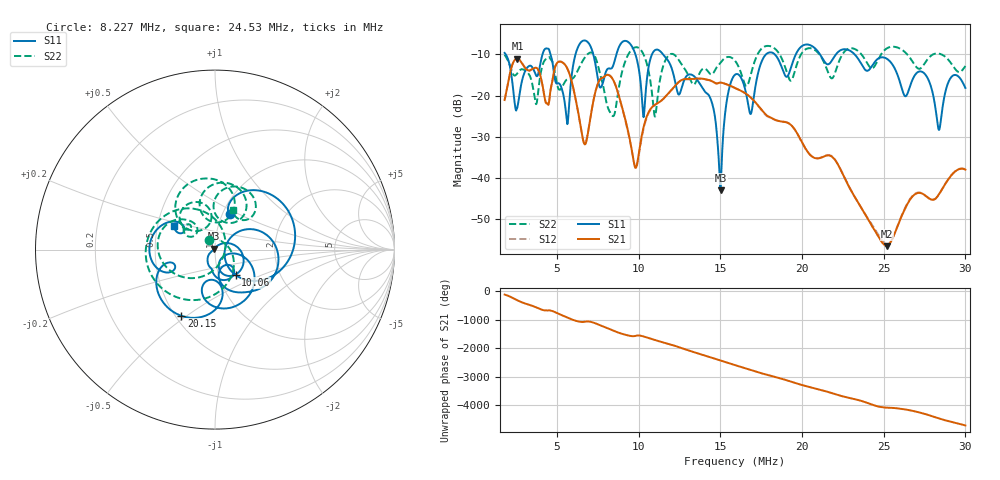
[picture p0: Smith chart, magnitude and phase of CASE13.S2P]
!Agilent Technologies,E5061B,MY49101568,A.02.00
!Date: Wed Mar 01 15:04:01 2023
!Data & Calibration Information:
!Freq	S11:SOLT2(OFF)	S21:SOLT2(OFF)	S12:SOLT2(OFF)	S22:SOLT2(OFF)
# Hz S dB R 50
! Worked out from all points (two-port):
!   1155 points, 1.8 MHz to 30 MHz, reference 50 ohm
!   highest |S21| = -11.01 dB at 2.582 MHz (marker M1); lowest = -56.6 dB at 25.19 MHz (marker M2)
!   |S21| within 3 dB of the highest: 2.162 MHz to 3.891 MHz (1.729 MHz wide, 57.1 % of centre); 4.827 MHz to 5.702 MHz (875.3 kHz wide, 16.6 % of centre)
!   lowest |S11| = -43.0 dB at 15.02 MHz (marker M3), VSWR 1.01, Z = 49.6 + j0.575 ohm
!   |S11| at or under -10 dB: 1.867 MHz to 4.118 MHz (2.251 MHz wide, 75.2 % of centre); 11.5 MHz to 17.79 MHz (6.29 MHz wide, 42.9 % of centre); 23.23 MHz to end of sweep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
!   |S22| runs from -25.1 to -7.9 dB; largest |S21 - S12| = 0.0083
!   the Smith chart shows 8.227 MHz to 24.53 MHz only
!   S11 on the Smith chart (normalised r, x): 8.227 MHz: 1.09, +0.45; 10.06 MHz: 1.20, -0.35; 20.15 MHz: 0.54, -0.48; 24.53 MHz: 0.61, +0.18
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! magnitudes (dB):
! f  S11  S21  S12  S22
! 1.8 MHz  -9.6  -21.1  -21.1  -10.1
! 2.582 MHz  -22.8  -11.0  -11.0  -14.6
! 3.731 MHz  -15.1  -13.2  -13.3  -22.1
! 4.39 MHz  -8.5  -21.9  -21.9  -11.0
! 5.637 MHz  -26.9  -13.4  -13.4  -16.1
! 6.516 MHz  -6.9  -28.9  -29.1  -12.0
! 8.227 MHz  -13.4  -15.1  -15.1  -23.9
! 10.06 MHz  -14.8  -32.8  -33.3  -8.6
! 10.33 MHz  -24.9  -27.3  -27.7  -10.2
! 11.21 MHz  -8.9  -21.7  -21.8  -18.8
! 14.34 MHz  -20.2  -16.2  -16.3  -14.6
! 15.02 MHz  -43.0  -16.8  -16.9  -12.0
! 15.9 MHz  -14.9  -18.1  -18.2  -11.5
! 16.85 MHz  -24.5  -20.4  -20.5  -15.1
! 17.76 MHz  -10.1  -24.5  -24.6  -8.0
! 20.15 MHz  -7.7  -32.5  -32.5  -9.0
! 20.62 MHz  -8.0  -34.8  -34.8  -8.6
! 24.53 MHz  -11.5  -53.3  -52.9  -12.3
! 25.19 MHz  -11.0  -56.6  -56.5  -8.5
! 25.31 MHz  -11.4  -56.3  -56.2  -8.3
! 28.39 MHz  -28.4  -44.0  -44.0  -9.8
! 30 MHz  -18.1  -38.0  -37.9  -12.8
